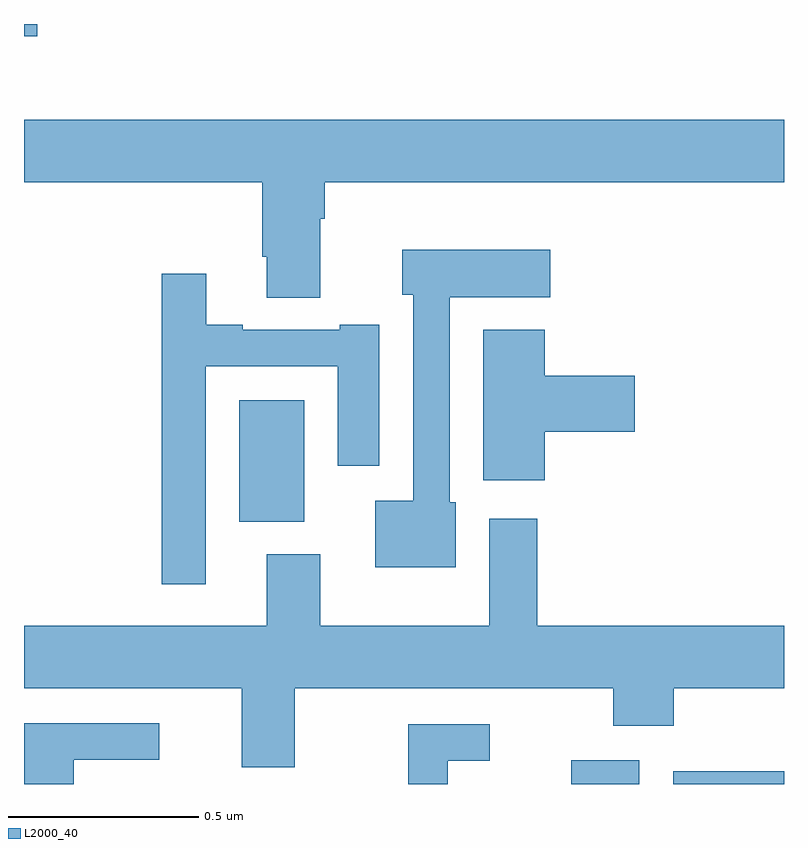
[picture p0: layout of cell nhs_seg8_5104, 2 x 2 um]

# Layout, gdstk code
import gdstk
lib = gdstk.Library(unit=1e-6, precision=1e-09)
def R(c, l, rs):  # rectangles x0, y0, x1, y1
    for r in rs: c.add(gdstk.rectangle(r[:2], r[2:], *l))
def P(c, l, *ps):  # polygons
    for p in ps: c.add(gdstk.Polygon(p, *l))
L2000_40 = (2000, 40)

nhs_seg8_5104 = lib.new_cell('nhs_seg8_5104')
R(nhs_seg8_5104, L2000_40, [(180.44,1130.9,180.619,1130.962), (180.708,1130.9,181,1130.934), (179.567,1131.59,179.737,1131.91), (179,1132.868,179.035,1132.9)])
P(nhs_seg8_5104, L2000_40, [(179.779,1132.388),(179.792,1132.388),(179.792,1132.484),(181,1132.484),(181,1132.648),(179,1132.648),(179,1132.484),(179.627,1132.484),(179.627,1132.288),(179.639,1132.288),(179.639,1132.18),(179.779,1132.18)],
  [(180.136,1131.642),(180.12,1131.642),(180.12,1132.181),(180.385,1132.181),(180.385,1132.306),(179.996,1132.306),(179.996,1132.188),(180.024,1132.188),(180.024,1131.646),(179.924,1131.646),(179.924,1131.47),(180.136,1131.47)],
  [(179.478,1131.999),(179.825,1131.999),(179.825,1131.738),(179.935,1131.738),(179.935,1132.108),(179.831,1132.108),(179.831,1132.095),(179.575,1132.095),(179.575,1132.108),(179.479,1132.108),(179.479,1132.243),(179.362,1132.243),(179.362,1131.426),(179.478,1131.426)],
  [(180.371,1131.827),(180.607,1131.827),(180.607,1131.974),(180.371,1131.974),(180.371,1132.096),(180.209,1132.096),(180.209,1131.699),(180.371,1131.699)],
  [(179.713,1131.152),(180.55,1131.152),(180.55,1131.053),(180.71,1131.053),(180.71,1131.152),(181,1131.152),(181,1131.316),(180.35,1131.316),(180.35,1131.598),(180.224,1131.598),(180.224,1131.316),(179.779,1131.316),(179.779,1131.505),(179.639,1131.505),(179.639,1131.316),(179,1131.316),(179,1131.152),(179.573,1131.152),(179.573,1130.944),(179.713,1130.944)],
  [(179.131,1130.964),(179.356,1130.964),(179.356,1131.06),(179,1131.06),(179,1130.9),(179.131,1130.9)],
  [(180.115,1130.961),(180.226,1130.961),(180.226,1131.057),(180.011,1131.057),(180.011,1130.9),(180.115,1130.9)])

lib.write_gds('nhs_seg8_5104.gds')
